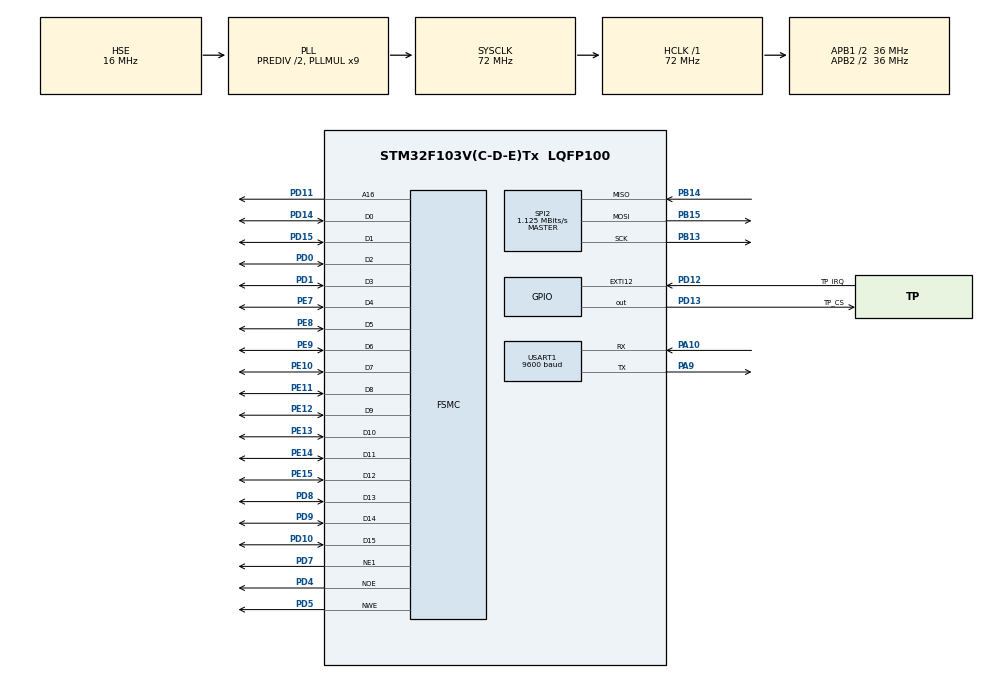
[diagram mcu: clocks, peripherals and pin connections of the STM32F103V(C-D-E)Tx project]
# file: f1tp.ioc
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Mcu.Family=STM32F1
PD7.Mode=NorPsramChipSelect1_1
PD12.GPIO_Label=TP_IRQ
NVIC.DMA1_Channel5_IRQn=true\:0\:0\:false\:false\:true\:false\:true
Dma.USART1_TX.1.MemInc=DMA_MINC_ENABLE
SPI2.VirtualType=VM_MASTER
USART1.BaudRate=9600
USART1.WordLength=WORDLENGTH_8B
NVIC.TIM1_UP_IRQn=true\:0\:0\:false\:false\:true\:true\:true
PB13.Signal=SPI2_SCK
PB15.Signal=SPI2_MOSI
PD9.Mode=16b-d1
RCC.SYSCLKSource=RCC_SYSCLKSOURCE_PLLCLK
ProjectManager.StackSize=0x400
PD13.Signal=GPIO_Output
TIM1.Prescaler=7200
USART1.StopBits=STOPBITS_1
PE11.Mode=16b-d1
RCC.HCLKFreq_Value=72000000
PD4.Signal=FSMC_NOE
RCC.APB2TimFreq_Value=72000000
PD10.Mode=16b-d1
PD0.Signal=FSMC_D2
PD8.Signal=FSMC_D13
OSC_OUT.Mode=HSE-External-Oscillator
OSC_OUT.Signal=RCC_OSC_OUT
RCC.AHBFreq_Value=72000000
SPI2.BaudRatePrescaler=SPI_BAUDRATEPRESCALER_32
Dma.USART1_RX.0.Priority=DMA_PRIORITY_HIGH
PD5.Mode=Lcd1
RCC.HSE_VALUE=16000000
RCC.PLLMUL=RCC_PLL_MUL9
PE13.Signal=FSMC_D10
PE9.Signal=FSMC_D6
PA14.Mode=Serial_Wire
PB14.Mode=Full_Duplex_Master
PD14.Mode=16b-d1
SPI2.CalculateBaudRate=1.125 MBits/s
PE13.Mode=16b-d1
Dma.USART1_RX.0.MemInc=DMA_MINC_ENABLE
PE10.Signal=FSMC_D7
VP_TIM1_VS_ClockSourceINT.Mode=Internal
Dma.USART1_TX.1.PeriphDataAlignment=DMA_PDATAALIGN_BYTE
PD15.Mode=16b-d1
PD13.GPIO_Label=TP_CS
Mcu.Package=LQFP100
SPI2.Mode=SPI_MODE_MASTER
PD12.Signal=GPXTI12
PA10.Signal=USART1_RX
PE9.Mode=16b-d1
RCC.APB2CLKDivider=RCC_HCLK_DIV2
PD4.Mode=Lcd1
Dma.Request1=USART1_TX
RCC.APB1TimFreq_Value=72000000
Dma.USART1_RX.0.Mode=DMA_NORMAL
Dma.USART1_TX.1.Priority=DMA_PRIORITY_LOW
SPI2.Direction=SPI_DIRECTION_2LINES
TIM1.Period=100
PB13.Mode=Full_Duplex_Master
NVIC.DMA1_Channel4_IRQn=true\:0\:0\:false\:false\:true\:false\:true
PE7.Signal=FSMC_D4
NVIC.USART1_IRQn=true\:0\:0\:false\:false\:true\:true\:true
Dma.Request0=USART1_RX
PD15.Signal=FSMC_D1
Dma.USART1_RX.0.Instance=DMA1_Channel5
Dma.USART1_TX.1.Direction=DMA_MEMORY_TO_PERIPH
PE12.Mode=16b-d1
RCC.PLLSourceVirtual=RCC_PLLSOURCE_HSE
Dma.USART1_TX.1.Instance=DMA1_Channel4
Dma.USART1_RX.0.PeriphDataAlignment=DMA_PDATAALIGN_BYTE
PA10.Mode=Asynchronous
PE10.Mode=16b-d1
PD7.Signal=FSMC_NE1
PD1.Signal=FSMC_D3
PD9.Signal=FSMC_D14
PD5.Signal=FSMC_NWE
RCC.APB1CLKDivider=RCC_HCLK_DIV2
PE8.Mode=16b-d1
PD10.Signal=FSMC_D15
PA13.Signal=SYS_JTMS-SWDIO
PA9.Mode=Asynchronous
ProjectManager.TargetToolchain=STM32CubeIDE
Dma.USART1_RX.0.Direction=DMA_PERIPH_TO_MEMORY
PA9.Signal=USART1_TX
USART1.Parity=PARITY_NONE
VP_TIM1_VS_ClockSourceITR.Mode=TriggerSource_ITR0
OSC_IN.Signal=RCC_OSC_IN
RCC.USBFreq_Value=72000000
PE11.Signal=FSMC_D8
PD8.Mode=16b-d1
Dma.USART1_RX.0.PeriphInc=DMA_PINC_DISABLE
PB14.Signal=SPI2_MISO
Dma.USART1_TX.1.MemDataAlignment=DMA_MDATAALIGN_BYTE
board=custom
PB15.Mode=Full_Duplex_Master
PD1.Mode=16b-d1
RCC.APB2Freq_Value=36000000
PE14.Signal=FSMC_D11
PE15.Signal=FSMC_D12
PE8.Signal=FSMC_D5
PE14.Mode=16b-d1
Dma.USART1_RX.0.MemDataAlignment=DMA_MDATAALIGN_BYTE
PA13.Mode=Serial_Wire
Mcu.Name=STM32F103V(C-D-E)Tx
PD0.Mode=16b-d1
PE12.Signal=FSMC_D9
PD14.Signal=FSMC_D0
RCC.SYSCLKFreq_VALUE=72000000
PE7.Mode=16b-d1
OSC_IN.Mode=HSE-External-Oscillator
PD11.Signal=FSMC_A16
RCC.HSEDivPLL=RCC_HSE_PREDIV_DIV2
Dma.USART1_TX.1.Mode=DMA_NORMAL
USART1.VirtualMode=VM_ASYNC
PA14.Signal=SYS_JTCK-SWCLK
ProjectManager.HeapSize=0x200
Dma.USART1_TX.1.PeriphInc=DMA_PINC_DISABLE
PD11.Mode=A16_1
NVIC.PriorityGroup=NVIC_PRIORITYGROUP_4
RCC.APB1Freq_Value=36000000
PE15.Mode=16b-d1

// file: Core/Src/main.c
/* USER CODE BEGIN Header */
/**
  ******************************************************************************
  * @file           : main.c
  * @brief          : Main program body
  ******************************************************************************
  * @attention
  *
  * <h2><center>&copy; Copyright (c) 2021 STMicroelectronics.
  * All rights reserved.</center></h2>
  *
  * This software component is licensed by ST under BSD 3-Clause license,
  * the "License"; You may not use this file except in compliance with the
  * License. You may obtain a copy of the License at:
  *                        opensource.org/licenses/BSD-3-Clause
  *
  ******************************************************************************
  */
/* USER CODE END Header */
#include "main.h"

/* USER CODE BEGIN Includes */
#include "ssd1963_headerfile.h"
#include "tp.h"

#include "myplot.h"
#include  "menu_utils.h"

#include <stdio.h>
#include "segoeui18.h"

#include "iran.h"

/* USER CODE END Includes */

/* USER CODE BEGIN PD */
#define GEAR_ID 		    	0x01
#define ZOOM_OUT_ID 			0x02
#define ZOOM_IN_ID          	0x03
#define FOUCOS_OUT_ID 			0x04
#define FOUCOS_IN_ID        	0x05
#define LEFT_ID 				0x06
#define RIGHT_ID            	0x07
#define UP_ID               	0x08
#define DOWN_ID             	0x09
#define LIGHT_UP_ID		    	0x0a
#define LIGHT_DOWN_ID       	0x0b
#define FLIPH_ID		    	0x0c
#define FLIPV_ID		    	0x0d
#define MODE_ONE_ID				0x0e
#define MODE_TWO_ID				0x0f
#define MODE_THREE_ID			0x10
#define MODE_FOUR_ID			0x11
#define SWIP_UP_ID				0x12
#define SWIP_DOWN_ID			0x13
#define SWIP_LR_ID				0x14

#define BUFF_SIZE 4

/* USER CODE END PD */

SPI_HandleTypeDef hspi2;

TIM_HandleTypeDef htim1;

UART_HandleTypeDef huart1;
DMA_HandleTypeDef hdma_usart1_rx;
DMA_HandleTypeDef hdma_usart1_tx;

SRAM_HandleTypeDef hsram1;

/* USER CODE BEGIN PV */
char str[80];

uint16_t x;
uint16_t y;

uint16_t gear_cnt = 94;
uint16_t zoom_cnt = 0;
uint16_t foucos_cnt = 0;
uint16_t light_cnt = 0;
uint16_t pos_cnt = 0;
uint16_t motor_cnt = 0;
uint16_t fliph_cnt = 0;
uint16_t flipv_cnt = 0;
uint8_t s = 0;
uint16_t xx =0;
uint8_t myTx[BUFF_SIZE] ;
uint8_t myRx[BUFF_SIZE] ;
uint8_t reset_gear_icon_flg = 0;
uint8_t reset_gear_icon_cnt = 0;
uint8_t reset_zoomin_icon_flg = 0;
uint8_t reset_zoomin_icon_cnt = 0;
uint8_t reset_zoomout_icon_flg = 0;
uint8_t reset_zoomout_icon_cnt = 0;

uint8_t reset_focusin_icon_flg = 0;
uint8_t reset_focusin_icon_cnt = 0;
uint8_t reset_focusout_icon_flg = 0;
uint8_t reset_focusout_icon_cnt = 0;

uint8_t reset_irisin_icon_flg = 0;
uint8_t reset_irisin_icon_cnt = 0;
uint8_t reset_irisout_icon_flg = 0;
uint8_t reset_irisout_icon_cnt = 0;

uint8_t i=0;

/* USER CODE END PV */

void SystemClock_Config(void);
static void MX_GPIO_Init(void);
static void MX_DMA_Init(void);
static void MX_FSMC_Init(void);
static void MX_SPI2_Init(void);
static void MX_USART1_UART_Init(void);
static void MX_TIM1_Init(void);
/* USER CODE BEGIN PFP */
void sendCmd(uint8_t id,uint16_t val);
void handleTouch(uint16_t x,uint16_t y);
uint8_t inRegion(uint16_t x,uint16_t y,uint16_t x0,uint16_t y0, uint16_t dx,uint16_t dy);

/* USER CODE END PFP */

/* USER CODE BEGIN 0 */
void HAL_TIM_PeriodElapsedCallback(TIM_HandleTypeDef *htim)
{
	if (reset_gear_icon_flg ==1){
		reset_gear_icon_cnt ++;
		if (reset_gear_icon_cnt > 5) {
			reset_gear_icon_cnt =0;
			reset_gear_icon_flg =0;
			myPlot(GEAR_X,GEAR_Y,COLOR_GRAY,COLOR_BLACK, gear_ch);
		}
	}

	if (reset_zoomin_icon_flg ==1){
		reset_zoomin_icon_cnt ++;
		if (reset_zoomin_icon_cnt > 2) {
			reset_zoomin_icon_cnt =0;
			reset_zoomin_icon_flg =0;
			myPlot(ZOOMIN_X,ZOOMIN_Y,COLOR_GRAY,COLOR_BLACK, zoomin_ch);
		}
	}
	//i ++;
	//sprintf(str,"y: %6u",i);

	// sprintf(str,"Meysam Shahbazi");
	//lcd_put_str2(310,440,str,WHITE,BLACK,segoe_ui);

}

/* USER CODE END 0 */

int main(void)
{

  /* MCU Configuration--------------------------------------------------------*/

  /* Reset of all peripherals, Initializes the Flash interface and the Systick. */
  HAL_Init();

  /* Configure the system clock */
  SystemClock_Config();

  /* Initialize all configured peripherals */
  MX_GPIO_Init();
  MX_DMA_Init();
  MX_FSMC_Init();
  MX_SPI2_Init();
  MX_USART1_UART_Init();
  MX_TIM1_Init();
  /* USER CODE BEGIN 2 */
	SSD1963_Init();
	Init_TOUCH();
	SSD1963_ClearScreen(COLOR_AQUA);
	LCD_Show_Image(250,100,(uint16_t *) iran);

	sprintf(str,"Made in Iran");
	uint16_t x0 = 0;
	x0 = (TFT_WIDTH - str_whidth(str,segoe_ui) ) /2;
	lcd_put_str2( x0 ,420,str,WHITE,COLOR_AQUA,segoe_ui);

	HAL_Delay(1000);

	drawMainMenu();
	HAL_TIM_Base_Start_IT(&htim1);
  /* USER CODE END 2 */

  /* Infinite loop */
  /* USER CODE BEGIN WHILE */
	HAL_UART_Receive_DMA(&huart1, myRx,BUFF_SIZE);
	//HAL_UART_Transmit_DMA(&huart1,myTx,BUFF_SIZE);

/*
	myTx[0] = GEAR_ID;
	myTx[1] = 0x0;
	myTx[2] = 0x02;
	myTx[3] = 0;
	*/
	//HAL_UART_Transmit_DMA(&huart1,myTx,BUFF_SIZE);
  while (1)
  {
  //s =  Read_ADS2(&y,&x); //TODO: change x and y in func

	//HAL_Delay(10);
	s =  tp_read3(&x,&y);
	if (s==1) {
		handleTouch(x,y);
		putTexts();

	}
    /* USER CODE END WHILE */

  }
}

void SystemClock_Config(void)
{
  RCC_OscInitTypeDef RCC_OscInitStruct = {0};
  RCC_ClkInitTypeDef RCC_ClkInitStruct = {0};

  /** Initializes the RCC Oscillators according to the specified parameters
  * in the RCC_OscInitTypeDef structure.
  */
  RCC_OscInitStruct.OscillatorType = RCC_OSCILLATORTYPE_HSE;
  RCC_OscInitStruct.HSEState = RCC_HSE_ON;
  RCC_OscInitStruct.HSEPredivValue = RCC_HSE_PREDIV_DIV2;
  RCC_OscInitStruct.HSIState = RCC_HSI_ON;
  RCC_OscInitStruct.PLL.PLLState = RCC_PLL_ON;
  RCC_OscInitStruct.PLL.PLLSource = RCC_PLLSOURCE_HSE;
  RCC_OscInitStruct.PLL.PLLMUL = RCC_PLL_MUL9;
  if (HAL_RCC_OscConfig(&RCC_OscInitStruct) != HAL_OK)
  {
    Error_Handler();
  }
  /** Initializes the CPU, AHB and APB buses clocks
  */
  RCC_ClkInitStruct.ClockType = RCC_CLOCKTYPE_HCLK|RCC_CLOCKTYPE_SYSCLK
                              |RCC_CLOCKTYPE_PCLK1|RCC_CLOCKTYPE_PCLK2;
  RCC_ClkInitStruct.SYSCLKSource = RCC_SYSCLKSOURCE_PLLCLK;
  RCC_ClkInitStruct.AHBCLKDivider = RCC_SYSCLK_DIV1;
  RCC_ClkInitStruct.APB1CLKDivider = RCC_HCLK_DIV2;
  RCC_ClkInitStruct.APB2CLKDivider = RCC_HCLK_DIV2;

  if (HAL_RCC_ClockConfig(&RCC_ClkInitStruct, FLASH_LATENCY_2) != HAL_OK)
  {
    Error_Handler();
  }
}

static void MX_SPI2_Init(void)
{

  /* SPI2 parameter configuration*/
  hspi2.Instance = SPI2;
  hspi2.Init.Mode = SPI_MODE_MASTER;
  hspi2.Init.Direction = SPI_DIRECTION_2LINES;
  hspi2.Init.DataSize = SPI_DATASIZE_8BIT;
  hspi2.Init.CLKPolarity = SPI_POLARITY_LOW;
  hspi2.Init.CLKPhase = SPI_PHASE_1EDGE;
  hspi2.Init.NSS = SPI_NSS_SOFT;
  hspi2.Init.BaudRatePrescaler = SPI_BAUDRATEPRESCALER_32;
  hspi2.Init.FirstBit = SPI_FIRSTBIT_MSB;
  hspi2.Init.TIMode = SPI_TIMODE_DISABLE;
  hspi2.Init.CRCCalculation = SPI_CRCCALCULATION_DISABLE;
  hspi2.Init.CRCPolynomial = 10;
  if (HAL_SPI_Init(&hspi2) != HAL_OK)
  {
    Error_Handler();
  }

}

static void MX_TIM1_Init(void)
{

  TIM_ClockConfigTypeDef sClockSourceConfig = {0};
  TIM_SlaveConfigTypeDef sSlaveConfig = {0};
  TIM_MasterConfigTypeDef sMasterConfig = {0};

  htim1.Instance = TIM1;
  htim1.Init.Prescaler = 7200;
  htim1.Init.CounterMode = TIM_COUNTERMODE_UP;
  htim1.Init.Period = 100;
  htim1.Init.ClockDivision = TIM_CLOCKDIVISION_DIV1;
  htim1.Init.RepetitionCounter = 0;
  htim1.Init.AutoReloadPreload = TIM_AUTORELOAD_PRELOAD_DISABLE;
  if (HAL_TIM_Base_Init(&htim1) != HAL_OK)
  {
    Error_Handler();
  }
  sClockSourceConfig.ClockSource = TIM_CLOCKSOURCE_INTERNAL;
  if (HAL_TIM_ConfigClockSource(&htim1, &sClockSourceConfig) != HAL_OK)
  {
    Error_Handler();
  }
  sSlaveConfig.SlaveMode = TIM_SLAVEMODE_DISABLE;
  sSlaveConfig.InputTrigger = TIM_TS_ITR0;
  if (HAL_TIM_SlaveConfigSynchro(&htim1, &sSlaveConfig) != HAL_OK)
  {
    Error_Handler();
  }
  sMasterConfig.MasterOutputTrigger = TIM_TRGO_RESET;
  sMasterConfig.MasterSlaveMode = TIM_MASTERSLAVEMODE_DISABLE;
  if (HAL_TIMEx_MasterConfigSynchronization(&htim1, &sMasterConfig) != HAL_OK)
  {
    Error_Handler();
  }

}

static void MX_USART1_UART_Init(void)
{

  huart1.Instance = USART1;
  huart1.Init.BaudRate = 9600;
  huart1.Init.WordLength = UART_WORDLENGTH_8B;
  huart1.Init.StopBits = UART_STOPBITS_1;
  huart1.Init.Parity = UART_PARITY_NONE;
  huart1.Init.Mode = UART_MODE_TX_RX;
  huart1.Init.HwFlowCtl = UART_HWCONTROL_NONE;
  huart1.Init.OverSampling = UART_OVERSAMPLING_16;
  if (HAL_UART_Init(&huart1) != HAL_OK)
  {
    Error_Handler();
  }

}

static void MX_DMA_Init(void)
{

  /* DMA controller clock enable */
  __HAL_RCC_DMA1_CLK_ENABLE();

  /* DMA interrupt init */
  /* DMA1_Channel4_IRQn interrupt configuration */
  HAL_NVIC_SetPriority(DMA1_Channel4_IRQn, 0, 0);
  HAL_NVIC_EnableIRQ(DMA1_Channel4_IRQn);
  /* DMA1_Channel5_IRQn interrupt configuration */
  HAL_NVIC_SetPriority(DMA1_Channel5_IRQn, 0, 0);
  HAL_NVIC_EnableIRQ(DMA1_Channel5_IRQn);

}

static void MX_GPIO_Init(void)
{
  GPIO_InitTypeDef GPIO_InitStruct = {0};

  /* GPIO Ports Clock Enable */
  __HAL_RCC_GPIOE_CLK_ENABLE();
  __HAL_RCC_GPIOB_CLK_ENABLE();
  __HAL_RCC_GPIOD_CLK_ENABLE();
  __HAL_RCC_GPIOA_CLK_ENABLE();

  /*Configure GPIO pin Output Level */
  HAL_GPIO_WritePin(TP_CS_GPIO_Port, TP_CS_Pin, GPIO_PIN_RESET);

  /*Configure GPIO pin : TP_IRQ_Pin */
  GPIO_InitStruct.Pin = TP_IRQ_Pin;
  GPIO_InitStruct.Mode = GPIO_MODE_IT_RISING;
  GPIO_InitStruct.Pull = GPIO_NOPULL;
  HAL_GPIO_Init(TP_IRQ_GPIO_Port, &GPIO_InitStruct);

  /*Configure GPIO pin : TP_CS_Pin */
  GPIO_InitStruct.Pin = TP_CS_Pin;
  GPIO_InitStruct.Mode = GPIO_MODE_OUTPUT_PP;
  GPIO_InitStruct.Pull = GPIO_NOPULL;
  GPIO_InitStruct.Speed = GPIO_SPEED_FREQ_LOW;
  HAL_GPIO_Init(TP_CS_GPIO_Port, &GPIO_InitStruct);

}

/* FSMC initialization function */
static void MX_FSMC_Init(void)
{

  FSMC_NORSRAM_TimingTypeDef Timing = {0};

  /** Perform the SRAM1 memory initialization sequence
  */
  hsram1.Instance = FSMC_NORSRAM_DEVICE;
  hsram1.Extended = FSMC_NORSRAM_EXTENDED_DEVICE;
  /* hsram1.Init */
  hsram1.Init.NSBank = FSMC_NORSRAM_BANK1;
  hsram1.Init.DataAddressMux = FSMC_DATA_ADDRESS_MUX_DISABLE;
  hsram1.Init.MemoryType = FSMC_MEMORY_TYPE_SRAM;
  hsram1.Init.MemoryDataWidth = FSMC_NORSRAM_MEM_BUS_WIDTH_16;
  hsram1.Init.BurstAccessMode = FSMC_BURST_ACCESS_MODE_DISABLE;
  hsram1.Init.WaitSignalPolarity = FSMC_WAIT_SIGNAL_POLARITY_LOW;
  hsram1.Init.WrapMode = FSMC_WRAP_MODE_DISABLE;
  hsram1.Init.WaitSignalActive = FSMC_WAIT_TIMING_BEFORE_WS;
  hsram1.Init.WriteOperation = FSMC_WRITE_OPERATION_ENABLE;
  hsram1.Init.WaitSignal = FSMC_WAIT_SIGNAL_DISABLE;
  hsram1.Init.ExtendedMode = FSMC_EXTENDED_MODE_DISABLE;
  hsram1.Init.AsynchronousWait = FSMC_ASYNCHRONOUS_WAIT_DISABLE;
  hsram1.Init.WriteBurst = FSMC_WRITE_BURST_DISABLE;
  /* Timing */
  Timing.AddressSetupTime = 15;
  Timing.AddressHoldTime = 15;
  Timing.DataSetupTime = 255;
  Timing.BusTurnAroundDuration = 15;
  Timing.CLKDivision = 16;
  Timing.DataLatency = 17;
  Timing.AccessMode = FSMC_ACCESS_MODE_A;
  /* ExtTiming */

  if (HAL_SRAM_Init(&hsram1, &Timing, NULL) != HAL_OK)
  {
    Error_Handler( );
  }

  /** Disconnect NADV
  */

  __HAL_AFIO_FSMCNADV_DISCONNECTED();

}

/* USER CODE BEGIN 4 */

uint8_t inRegion(uint16_t x,uint16_t y,uint16_t x0,uint16_t y0, uint16_t dx,uint16_t dy) {
	// if x,y is in region of x0,y0 -> x0+dx,y0+dy return 1 oth. return 0
#define BOUND 10
	if (x> x0 + BOUND && x<x0+dx - BOUND && y > y0 + BOUND && y<y0+dy-BOUND)
		return 1;
	else
		return 0;
}

void sendCmd(uint8_t id,uint16_t val){
	myTx[0] = id;
	myTx[1] = val/256;
	myTx[2] = val%256;
	myTx[3] = myTx[0] + myTx[1] + myTx[2];

	HAL_UART_Transmit(&huart1,myTx,BUFF_SIZE,10);
	//sprintf(str,"%02x,%02x,%02x",myTx[0],myTx[1],myTx[2]);
	//lcd_put_str2(555,435,str,WHITE,BLACK,segoe_ui);
}

void handleTouch(uint16_t x,uint16_t y) {
		HAL_TIM_Base_Stop_IT(&htim1);

		if (inRegion (x,y,GEAR_X,GEAR_Y,gear_ch[1],gear_ch[1])) {
			sendCmd(GEAR_ID,gear_cnt);
			myPlot(GEAR_X,GEAR_Y,COLOR_RED,COLOR_BLACK, gear_ch);
			myPlot(SWIP_UP_X,SWIP_UP_Y,COLOR_YELLOW,BLACK, swip_up_ch);
			myPlot(SWIP_DOWN_X,SWIP_DOWN_Y,COLOR_YELLOW,BLACK, swip_down_ch);
			myPlot(SWIP_LEFT_RIGHT_X,SWIP_LEFT_RIGHT_Y,COLOR_YELLOW,BLACK, swip_left_right_ch);
			reset_gear_icon_flg = 1;
		}
		else if ( inRegion(x,y,GEAR_INC_X,GEAR_INC_Y,inc_ch[1],inc_ch[1]) ){
			gear_cnt ++;
		}
		else if ( inRegion(x,y,GEAR_DEC_X,GEAR_DEC_Y,dec_ch[1],dec_ch[1]) ){
			if (gear_cnt >0 ) {
				gear_cnt --;
			}
		}
		else if (inRegion(x, y, REEL_X, REEL_Y,reel_ch[1], reel_ch[1])){
			sendCmd(MODE_ONE_ID,0x01);
			myPlot(REEL_X,REEL_Y,COLOR_RED,BLACK, reel_ch);
			myPlot(TWO_X,TWO_Y,COLOR_BLUE,BLACK, two_ch);
			myPlot(THREE_X,THREE_Y,COLOR_BLUE,BLACK, three_ch);
			myPlot(FOUR_X,FOUR_Y,COLOR_BLUE,BLACK, four_ch);
		}
		else if (inRegion(x, y, TWO_X, TWO_Y, two_ch[1], two_ch[1])){
			sendCmd(MODE_TWO_ID,0x01);
			myPlot(TWO_X,TWO_Y,COLOR_RED,BLACK, two_ch);
			myPlot(REEL_X,REEL_Y,COLOR_BLUE,BLACK, reel_ch);
			myPlot(THREE_X,THREE_Y,COLOR_BLUE,BLACK, three_ch);
			myPlot(FOUR_X,FOUR_Y,COLOR_BLUE,BLACK, four_ch);
		}
		else if (inRegion(x, y, THREE_X,THREE_Y,three_ch[1], three_ch[1])){
			sendCmd(MODE_THREE_ID,0x01);
			myPlot(THREE_X,THREE_Y,COLOR_RED,BLACK, three_ch);
			myPlot(REEL_X,REEL_Y,COLOR_BLUE,BLACK, reel_ch);
			myPlot(TWO_X,TWO_Y,COLOR_BLUE,BLACK, two_ch);
			myPlot(FOUR_X,FOUR_Y,COLOR_BLUE,BLACK, four_ch);
		}
		else if (inRegion(x, y, FOUR_X, FOUR_Y, four_ch[1], four_ch[1])){
			sendCmd(MODE_FOUR_ID, 0x01);
			myPlot(FOUR_X,FOUR_Y,COLOR_RED,BLACK, four_ch);
			myPlot(REEL_X,REEL_Y,COLOR_BLUE,BLACK, reel_ch);
			myPlot(TWO_X,TWO_Y,COLOR_BLUE,BLACK, two_ch);
			myPlot(THREE_X,THREE_Y,COLOR_BLUE,BLACK, three_ch);
		}
		else if ( inRegion(x,y,ZOOMIN_X,ZOOMIN_Y,zoomin_ch[1],zoomin_ch[1]) ) {
			zoom_cnt ++;
			sendCmd(ZOOM_IN_ID,zoom_cnt);
		}
		else if ( inRegion(x,y,ZOONOUT_X,ZOOMOUT_Y,zoomout_ch[1],zoomin_ch[1]) ){
			zoom_cnt --;
			sendCmd(ZOOM_OUT_ID,zoom_cnt);

		}
		else if ( inRegion(x,y,FOUCOSP_X,FOUCOSP_Y,focusp_ch[1],focusp_ch[1]) ){
			foucos_cnt ++;
			sendCmd(FOUCOS_IN_ID,foucos_cnt);
		}
		else if ( inRegion(x,y,FOUCOSN_X,FOUCOSN_Y,focusn_ch[1],focusn_ch[1]) ){
			foucos_cnt --;
			sendCmd(FOUCOS_OUT_ID,foucos_cnt);

		}

		else if ( inRegion(x,y,LIGHTUP_X,LIGHTUP_Y,lightup_ch[1],lightup_ch[1]) ){
			light_cnt ++;
			sendCmd(LIGHT_UP_ID,light_cnt);
		}
		else if ( inRegion(x,y,LIGHTDOWN_X,LIGHTDOWN_Y,lightdown_ch[1],lightdown_ch[1]) ) {
			light_cnt --;
			sendCmd(LIGHT_DOWN_ID,light_cnt);

		}

		else if ( inRegion(x,y,RIGHT_X,RIGHT_Y,right_ch[1],right_ch[1]) ){
			motor_cnt ++;
			sendCmd(RIGHT_ID,motor_cnt);

		}
		else if ( inRegion(x,y,LEFT_X,LEFT_Y,left_ch[1],left_ch[1]) ){
			motor_cnt --;
			sendCmd(LEFT_ID,motor_cnt);

		}

		else if ( inRegion(x,y,UP_X,UP_Y,up_ch[1],up_ch[1]) ){
			pos_cnt ++;
			sendCmd(UP_ID,pos_cnt);
		}
		else if ( inRegion(x,y,DOWN_X,DOWN_Y,down_ch[1],down_ch[1]) ){
			pos_cnt --;
			sendCmd(DOWN_ID,pos_cnt);
		}

		else if ( inRegion(x,y,FLIPH_X,FLIPH_Y,fliph_ch[1],fliph_ch[1]) ){
			if (fliph_cnt ==0) {
				myPlot(FLIPH_X,FLIPH_Y,COLOR_MAROON,BLACK, fliph_ch);
				fliph_cnt = 1;
			}
			else {
				myPlot(FLIPH_X,FLIPH_Y,COLOR_LIME,BLACK, fliph_ch);
				fliph_cnt = 0;
			}
			sendCmd(FLIPH_ID,fliph_cnt);
			HAL_Delay(200);
		}
		else if ( inRegion(x,y,FLIPV_X,FLIPV_Y,fliph_ch[1],fliph_ch[1]) ){
			if (flipv_cnt ==0) {
				flipv_cnt = 1;
				myPlot(FLIPV_X,FLIPV_Y,COLOR_MAROON,BLACK, flipv_ch);
			}
			else {
				myPlot(FLIPV_X,FLIPV_Y,COLOR_LIME,BLACK, flipv_ch);
				flipv_cnt = 0;

			}
			sendCmd(FLIPV_ID,flipv_cnt);
			HAL_Delay(200);
		}
		else if(inRegion(x, y, SWIP_DOWN_X, SWIP_DOWN_Y,swip_down_ch[1], swip_down_ch[1])){
			sendCmd(SWIP_DOWN_ID,0x01);
			myPlot(SWIP_UP_X,SWIP_UP_Y,COLOR_YELLOW,BLACK, swip_up_ch);
			myPlot(SWIP_DOWN_X,SWIP_DOWN_Y,COLOR_AQUA,BLACK, swip_down_ch);
			myPlot(SWIP_LEFT_RIGHT_X,SWIP_LEFT_RIGHT_Y,COLOR_YELLOW,BLACK, swip_left_right_ch);

		}
		else if (inRegion(x, y, SWIP_UP_X, SWIP_UP_Y,swip_up_ch[1] , swip_up_ch[1])){
			sendCmd(SWIP_UP_ID,0x01);
			myPlot(SWIP_UP_X,SWIP_UP_Y,COLOR_AQUA,BLACK, swip_up_ch);
			myPlot(SWIP_DOWN_X,SWIP_DOWN_Y,COLOR_YELLOW,BLACK, swip_down_ch);
			myPlot(SWIP_LEFT_RIGHT_X,SWIP_LEFT_RIGHT_Y,COLOR_YELLOW,BLACK, swip_left_right_ch);

		}
		HAL_TIM_Base_Start_IT(&htim1);
}

void putTexts() {
		char str[80];

		sprintf(str,"%5u",gear_cnt);
		lcd_put_str2(180,100,str,WHITE,BLACK,segoe_ui);
/*
		sprintf(str,"%5u",zoom_cnt);
		lcd_put_str2(700,5,str,WHITE,BLACK,segoe_ui);

		sprintf(str,"%5u",foucos_cnt);
		lcd_put_str2(700,125,str,WHITE,BLACK,segoe_ui);
		sprintf(str,"%5u",light_cnt);
		lcd_put_str2(700,260,str,WHITE,BLACK,segoe_ui);
		sprintf(str,"%5u",motor_cnt);
		lcd_put_str2(250,5,str,WHITE,BLACK,segoe_ui);
		sprintf(str,"%5u",pos_cnt);
		lcd_put_str2(490,270,str,WHITE,BLACK,segoe_ui);
		*/
/*
		sprintf(str,"x: %6u",x);
		lcd_put_str2(605,310,str,WHITE,BLACK,segoe_ui);
		sprintf(str,"y: %6u",y);
		lcd_put_str2(605,342,str,WHITE,BLACK,segoe_ui);
*/
		//sprintf(str,"Meysam Shahbazi");
		//lcd_put_str2(360,440,str,WHITE,BLACK,segoe_ui);

}

void HAL_UART_RxCpltCallback(UART_HandleTypeDef *huart)
{

  UNUSED(huart);

  	/*xx++;

  	sprintf(str,"RX-%u: ",xx);
  	lcd_put_str2(555,435,str,WHITE,BLACK,segoe_ui);
	sprintf(str,"%02x,%02x,%02x",myRx[0],myRx[1],myRx[2]);
	lcd_put_str2(360,440,str,WHITE,BLACK,segoe_ui);
  	//lcd_put_str2(650,435,str,WHITE,BLACK,segoe_ui);
  	HAL_UART_Receive_DMA(&huart1, myRx,BUFF_SIZE);
  	*/

/*
  	sprintf(str,"%u",xx);
  	lcd_put_str2(555,380,str,WHITE,BLACK,segoe_ui);
	//lcd_put_str2(555,380,(char *) myRx,WHITE,BLACK,segoe_ui);
	lcd_put_str2(555,435,str,WHITE,BLACK,segoe_ui);
	*/

}

/* USER CODE END 4 */

void Error_Handler(void)
{
  __disable_irq();
  while (1)
  {
  }
}

/************************ (C) COPYRIGHT STMicroelectronics *****END OF FILE****/
